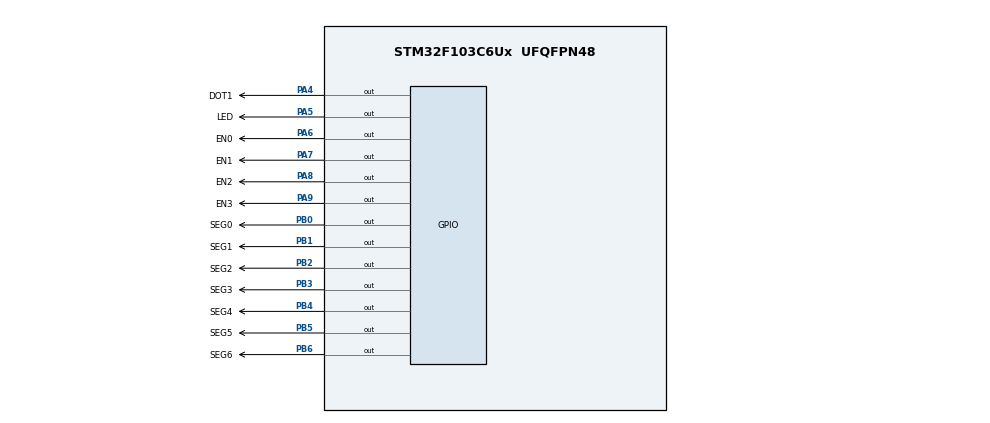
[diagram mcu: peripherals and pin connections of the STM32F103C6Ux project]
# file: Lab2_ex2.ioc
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Mcu.Family=STM32F1
Mcu.Name=STM32F103C6Ux
Mcu.Package=UFQFPN48
NVIC.PriorityGroup=NVIC_PRIORITYGROUP_4
NVIC.TIM2_IRQn=true\:0\:0\:false\:false\:true\:true\:true
PA4.GPIO_Label=DOT1
PA4.Signal=GPIO_Output
PA5.GPIO_Label=LED
PA5.Signal=GPIO_Output
PA6.GPIO_Label=EN0
PA6.Signal=GPIO_Output
PA7.GPIO_Label=EN1
PA7.Signal=GPIO_Output
PA8.GPIO_Label=EN2
PA8.Signal=GPIO_Output
PA9.GPIO_Label=EN3
PA9.Signal=GPIO_Output
PB0.GPIO_Label=SEG0
PB0.Signal=GPIO_Output
PB1.GPIO_Label=SEG1
PB1.Signal=GPIO_Output
PB2.GPIO_Label=SEG2
PB2.Signal=GPIO_Output
PB3.GPIO_Label=SEG3
PB3.Signal=GPIO_Output
PB4.GPIO_Label=SEG4
PB4.Signal=GPIO_Output
PB5.GPIO_Label=SEG5
PB5.Signal=GPIO_Output
PB6.GPIO_Label=SEG6
PB6.Signal=GPIO_Output
ProjectManager.HeapSize=0x200
ProjectManager.StackSize=0x400
ProjectManager.TargetToolchain=STM32CubeIDE
RCC.APB1Freq_Value=8000000
RCC.APB2Freq_Value=8000000
TIM2.Period=9
TIM2.Prescaler=7999
VP_SYS_VS_ND.Mode=No_Debug
VP_TIM2_VS_ClockSourceINT.Mode=Internal
board=custom

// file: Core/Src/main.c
/* USER CODE BEGIN Header */
/**
  ******************************************************************************
  * @file           : main.c
  * @brief          : Main program body
  ******************************************************************************
  * @attention
  *
  * <h2><center>&copy; Copyright (c) 2022 STMicroelectronics.
  * All rights reserved.</center></h2>
  *
  * This software component is licensed by ST under BSD 3-Clause license,
  * the "License"; You may not use this file except in compliance with the
  * License. You may obtain a copy of the License at:
  *                        opensource.org/licenses/BSD-3-Clause
  *
  ******************************************************************************
  */
/* USER CODE END Header */
#include "main.h"

TIM_HandleTypeDef htim2;

void SystemClock_Config(void);
static void MX_GPIO_Init(void);
static void MX_TIM2_Init(void);

/* USER CODE BEGIN 0 */
void display7SEG(int num){
		  // VARIABLES a,b,c,d,e,f,g ARE DEFINED BY THESE SPECIFIC DESCRIPTION ABOVE.
		  // DISLAY NUMBER 0
			if(num == 0){
				HAL_GPIO_WritePin ( SEG0_GPIO_Port , SEG0_Pin ,GPIO_PIN_RESET );
				HAL_GPIO_WritePin ( SEG1_GPIO_Port , SEG1_Pin ,GPIO_PIN_RESET );
				HAL_GPIO_WritePin ( SEG2_GPIO_Port , SEG2_Pin ,GPIO_PIN_RESET );
				HAL_GPIO_WritePin ( SEG3_GPIO_Port , SEG3_Pin ,GPIO_PIN_RESET );
				HAL_GPIO_WritePin ( SEG4_GPIO_Port , SEG4_Pin ,GPIO_PIN_RESET );
				HAL_GPIO_WritePin ( SEG5_GPIO_Port , SEG5_Pin ,GPIO_PIN_RESET );
				HAL_GPIO_WritePin ( SEG6_GPIO_Port , SEG6_Pin ,GPIO_PIN_SET );
			}
			// DISLAY NUMBER 1
			else if(num == 1){
				HAL_GPIO_WritePin ( SEG0_GPIO_Port , SEG0_Pin ,GPIO_PIN_SET );
				HAL_GPIO_WritePin ( SEG1_GPIO_Port , SEG1_Pin ,GPIO_PIN_RESET );
				HAL_GPIO_WritePin ( SEG2_GPIO_Port , SEG2_Pin ,GPIO_PIN_RESET );
				HAL_GPIO_WritePin ( SEG3_GPIO_Port , SEG3_Pin ,GPIO_PIN_SET );
				HAL_GPIO_WritePin ( SEG4_GPIO_Port , SEG4_Pin ,GPIO_PIN_SET );
				HAL_GPIO_WritePin ( SEG5_GPIO_Port , SEG5_Pin ,GPIO_PIN_SET );
				HAL_GPIO_WritePin ( SEG6_GPIO_Port , SEG6_Pin ,GPIO_PIN_SET );
			}
			// DISLAY NUMBER 2
			else if(num == 2){
					HAL_GPIO_WritePin ( SEG0_GPIO_Port , SEG0_Pin ,GPIO_PIN_RESET );
					HAL_GPIO_WritePin ( SEG1_GPIO_Port , SEG1_Pin ,GPIO_PIN_RESET );
					HAL_GPIO_WritePin ( SEG2_GPIO_Port , SEG2_Pin ,GPIO_PIN_SET );
					HAL_GPIO_WritePin ( SEG3_GPIO_Port , SEG3_Pin ,GPIO_PIN_RESET );
					HAL_GPIO_WritePin ( SEG4_GPIO_Port , SEG4_Pin ,GPIO_PIN_RESET );
					HAL_GPIO_WritePin ( SEG5_GPIO_Port , SEG5_Pin ,GPIO_PIN_SET );
					HAL_GPIO_WritePin ( SEG6_GPIO_Port , SEG6_Pin ,GPIO_PIN_RESET );
				}
		    // DISLAY NUMBER 3
			else if(num == 3){
				HAL_GPIO_WritePin ( SEG0_GPIO_Port , SEG0_Pin ,GPIO_PIN_RESET );
				HAL_GPIO_WritePin ( SEG1_GPIO_Port , SEG1_Pin ,GPIO_PIN_RESET );
				HAL_GPIO_WritePin ( SEG2_GPIO_Port , SEG2_Pin ,GPIO_PIN_RESET );
				HAL_GPIO_WritePin ( SEG3_GPIO_Port , SEG3_Pin ,GPIO_PIN_RESET );
				HAL_GPIO_WritePin ( SEG4_GPIO_Port , SEG4_Pin ,GPIO_PIN_SET );
				HAL_GPIO_WritePin ( SEG5_GPIO_Port , SEG5_Pin ,GPIO_PIN_SET );
				HAL_GPIO_WritePin ( SEG6_GPIO_Port , SEG6_Pin ,GPIO_PIN_RESET );
			}
			// DISLAY NUMBER 4
			else if(num == 4){
				HAL_GPIO_WritePin ( SEG0_GPIO_Port , SEG0_Pin ,GPIO_PIN_SET );
				HAL_GPIO_WritePin ( SEG1_GPIO_Port , SEG1_Pin ,GPIO_PIN_RESET );
				HAL_GPIO_WritePin ( SEG2_GPIO_Port , SEG2_Pin ,GPIO_PIN_RESET );
				HAL_GPIO_WritePin ( SEG3_GPIO_Port , SEG3_Pin ,GPIO_PIN_SET );
				HAL_GPIO_WritePin ( SEG4_GPIO_Port , SEG4_Pin ,GPIO_PIN_SET );
				HAL_GPIO_WritePin ( SEG5_GPIO_Port , SEG5_Pin ,GPIO_PIN_RESET );
				HAL_GPIO_WritePin ( SEG6_GPIO_Port , SEG6_Pin ,GPIO_PIN_RESET );
			}
			// DISLAY NUMBER 5
			else if(num == 5){
				HAL_GPIO_WritePin ( SEG0_GPIO_Port , SEG0_Pin ,GPIO_PIN_RESET );
				HAL_GPIO_WritePin ( SEG1_GPIO_Port , SEG1_Pin ,GPIO_PIN_SET );
				HAL_GPIO_WritePin ( SEG2_GPIO_Port , SEG2_Pin ,GPIO_PIN_RESET );
				HAL_GPIO_WritePin ( SEG3_GPIO_Port , SEG3_Pin ,GPIO_PIN_RESET );
				HAL_GPIO_WritePin ( SEG4_GPIO_Port , SEG4_Pin ,GPIO_PIN_SET );
				HAL_GPIO_WritePin ( SEG5_GPIO_Port , SEG5_Pin ,GPIO_PIN_RESET );
				HAL_GPIO_WritePin ( SEG6_GPIO_Port , SEG6_Pin ,GPIO_PIN_RESET );
			}
			// DISLAY NUMBER 6
			else if(num == 6){
				HAL_GPIO_WritePin ( SEG0_GPIO_Port , SEG0_Pin ,GPIO_PIN_RESET );
				HAL_GPIO_WritePin ( SEG1_GPIO_Port , SEG1_Pin ,GPIO_PIN_SET );
				HAL_GPIO_WritePin ( SEG2_GPIO_Port , SEG2_Pin ,GPIO_PIN_RESET );
				HAL_GPIO_WritePin ( SEG3_GPIO_Port , SEG3_Pin ,GPIO_PIN_RESET );
				HAL_GPIO_WritePin ( SEG4_GPIO_Port , SEG4_Pin ,GPIO_PIN_RESET );
				HAL_GPIO_WritePin ( SEG5_GPIO_Port , SEG5_Pin ,GPIO_PIN_RESET );
				HAL_GPIO_WritePin ( SEG6_GPIO_Port , SEG6_Pin ,GPIO_PIN_RESET );
			}
			// DISLAY NUMBER 7
			else if(num == 7){
				HAL_GPIO_WritePin ( SEG0_GPIO_Port , SEG0_Pin ,GPIO_PIN_RESET );
				HAL_GPIO_WritePin ( SEG1_GPIO_Port , SEG1_Pin ,GPIO_PIN_RESET );
				HAL_GPIO_WritePin ( SEG2_GPIO_Port , SEG2_Pin ,GPIO_PIN_RESET );
				HAL_GPIO_WritePin ( SEG3_GPIO_Port , SEG3_Pin ,GPIO_PIN_SET );
				HAL_GPIO_WritePin ( SEG4_GPIO_Port , SEG4_Pin ,GPIO_PIN_SET );
				HAL_GPIO_WritePin ( SEG5_GPIO_Port , SEG5_Pin ,GPIO_PIN_SET );
				HAL_GPIO_WritePin ( SEG6_GPIO_Port , SEG6_Pin ,GPIO_PIN_SET );
			}
			// DISLAY NUMBER 8
			else if(num == 8){
				HAL_GPIO_WritePin ( SEG0_GPIO_Port , SEG0_Pin ,GPIO_PIN_RESET );
				HAL_GPIO_WritePin ( SEG1_GPIO_Port , SEG1_Pin ,GPIO_PIN_RESET );
				HAL_GPIO_WritePin ( SEG2_GPIO_Port , SEG2_Pin ,GPIO_PIN_RESET );
				HAL_GPIO_WritePin ( SEG3_GPIO_Port , SEG3_Pin ,GPIO_PIN_RESET );
				HAL_GPIO_WritePin ( SEG4_GPIO_Port , SEG4_Pin ,GPIO_PIN_RESET );
				HAL_GPIO_WritePin ( SEG5_GPIO_Port , SEG5_Pin ,GPIO_PIN_RESET );
				HAL_GPIO_WritePin ( SEG6_GPIO_Port , SEG6_Pin ,GPIO_PIN_RESET );
			}
			// DISLAY NUMBER 9
			else if(num == 9){
				HAL_GPIO_WritePin ( SEG0_GPIO_Port , SEG0_Pin ,GPIO_PIN_RESET );
				HAL_GPIO_WritePin ( SEG1_GPIO_Port , SEG1_Pin ,GPIO_PIN_RESET );
				HAL_GPIO_WritePin ( SEG2_GPIO_Port , SEG2_Pin ,GPIO_PIN_RESET );
				HAL_GPIO_WritePin ( SEG3_GPIO_Port , SEG3_Pin ,GPIO_PIN_RESET );
				HAL_GPIO_WritePin ( SEG4_GPIO_Port , SEG4_Pin ,GPIO_PIN_SET );
				HAL_GPIO_WritePin ( SEG5_GPIO_Port , SEG5_Pin ,GPIO_PIN_RESET );
				HAL_GPIO_WritePin ( SEG6_GPIO_Port , SEG6_Pin ,GPIO_PIN_RESET );
			}
		}
	const int MAX_LED = 4;
	int index_led = 0;
	int led_buffer [4] = {1, 2, 3, 4};
	void update7SEG ( int index ){
		HAL_GPIO_WritePin(GPIOA, EN0_Pin, SET);
		HAL_GPIO_WritePin(GPIOA, EN1_Pin, SET);
		HAL_GPIO_WritePin(GPIOA, EN2_Pin, SET);
		HAL_GPIO_WritePin(GPIOA, EN3_Pin, SET);
		display7SEG(led_buffer[index]);
			switch ( index ){
				case 0:
					HAL_GPIO_WritePin(GPIOA, EN0_Pin, RESET);

					// Display the first 7 SEG with led_buffer [0]
					break ;
				case 1:
					HAL_GPIO_WritePin(GPIOA, EN1_Pin, RESET);

					// Display the second 7 SEG with led_buffer [1]
					break ;
				case 2:

					HAL_GPIO_WritePin(GPIOA, EN2_Pin, RESET);

					// Display the third 7 SEG with led_buffer [2]
					break ;
				case 3:
					HAL_GPIO_WritePin(GPIOA, EN3_Pin, RESET);

					// Display the forth 7 SEG with led_buffer [3]
					break ;
				default :
					break ;
			}
 }
/* USER CODE END 0 */

int main(void)
{

  /* MCU Configuration--------------------------------------------------------*/

  /* Reset of all peripherals, Initializes the Flash interface and the Systick. */
  HAL_Init();

  /* Configure the system clock */
  SystemClock_Config();

  /* Initialize all configured peripherals */
  MX_GPIO_Init();
  MX_TIM2_Init();
  /* USER CODE BEGIN 2 */
  HAL_TIM_Base_Start_IT(&htim2);

  /* USER CODE END 2 */

  /* Infinite loop */
  while (1)
  {

  }
}

void SystemClock_Config(void)
{
  RCC_OscInitTypeDef RCC_OscInitStruct = {0};
  RCC_ClkInitTypeDef RCC_ClkInitStruct = {0};

  /** Initializes the RCC Oscillators according to the specified parameters
  * in the RCC_OscInitTypeDef structure.
  */
  RCC_OscInitStruct.OscillatorType = RCC_OSCILLATORTYPE_HSI;
  RCC_OscInitStruct.HSIState = RCC_HSI_ON;
  RCC_OscInitStruct.HSICalibrationValue = RCC_HSICALIBRATION_DEFAULT;
  RCC_OscInitStruct.PLL.PLLState = RCC_PLL_NONE;
  if (HAL_RCC_OscConfig(&RCC_OscInitStruct) != HAL_OK)
  {
    Error_Handler();
  }
  /** Initializes the CPU, AHB and APB buses clocks
  */
  RCC_ClkInitStruct.ClockType = RCC_CLOCKTYPE_HCLK|RCC_CLOCKTYPE_SYSCLK
                              |RCC_CLOCKTYPE_PCLK1|RCC_CLOCKTYPE_PCLK2;
  RCC_ClkInitStruct.SYSCLKSource = RCC_SYSCLKSOURCE_HSI;
  RCC_ClkInitStruct.AHBCLKDivider = RCC_SYSCLK_DIV1;
  RCC_ClkInitStruct.APB1CLKDivider = RCC_HCLK_DIV1;
  RCC_ClkInitStruct.APB2CLKDivider = RCC_HCLK_DIV1;

  if (HAL_RCC_ClockConfig(&RCC_ClkInitStruct, FLASH_LATENCY_0) != HAL_OK)
  {
    Error_Handler();
  }
}

static void MX_TIM2_Init(void)
{

  TIM_ClockConfigTypeDef sClockSourceConfig = {0};
  TIM_MasterConfigTypeDef sMasterConfig = {0};

  htim2.Instance = TIM2;
  htim2.Init.Prescaler = 7999;
  htim2.Init.CounterMode = TIM_COUNTERMODE_UP;
  htim2.Init.Period = 9;
  htim2.Init.ClockDivision = TIM_CLOCKDIVISION_DIV1;
  htim2.Init.AutoReloadPreload = TIM_AUTORELOAD_PRELOAD_DISABLE;
  if (HAL_TIM_Base_Init(&htim2) != HAL_OK)
  {
    Error_Handler();
  }
  sClockSourceConfig.ClockSource = TIM_CLOCKSOURCE_INTERNAL;
  if (HAL_TIM_ConfigClockSource(&htim2, &sClockSourceConfig) != HAL_OK)
  {
    Error_Handler();
  }
  sMasterConfig.MasterOutputTrigger = TIM_TRGO_RESET;
  sMasterConfig.MasterSlaveMode = TIM_MASTERSLAVEMODE_DISABLE;
  if (HAL_TIMEx_MasterConfigSynchronization(&htim2, &sMasterConfig) != HAL_OK)
  {
    Error_Handler();
  }

}

static void MX_GPIO_Init(void)
{
  GPIO_InitTypeDef GPIO_InitStruct = {0};

  /* GPIO Ports Clock Enable */
  __HAL_RCC_GPIOA_CLK_ENABLE();
  __HAL_RCC_GPIOB_CLK_ENABLE();

  /*Configure GPIO pin Output Level */
  HAL_GPIO_WritePin(GPIOA, DOT1_Pin|LED_Pin|EN0_Pin|EN1_Pin
                          |EN2_Pin|EN3_Pin, GPIO_PIN_RESET);

  /*Configure GPIO pin Output Level */
  HAL_GPIO_WritePin(GPIOB, SEG0_Pin|SEG1_Pin|SEG2_Pin|SEG3_Pin
                          |SEG4_Pin|SEG5_Pin|SEG6_Pin, GPIO_PIN_RESET);

  /*Configure GPIO pins : DOT1_Pin LED_Pin EN0_Pin EN1_Pin
                           EN2_Pin EN3_Pin */
  GPIO_InitStruct.Pin = DOT1_Pin|LED_Pin|EN0_Pin|EN1_Pin
                          |EN2_Pin|EN3_Pin;
  GPIO_InitStruct.Mode = GPIO_MODE_OUTPUT_PP;
  GPIO_InitStruct.Pull = GPIO_NOPULL;
  GPIO_InitStruct.Speed = GPIO_SPEED_FREQ_LOW;
  HAL_GPIO_Init(GPIOA, &GPIO_InitStruct);

  /*Configure GPIO pins : SEG0_Pin SEG1_Pin SEG2_Pin SEG3_Pin
                           SEG4_Pin SEG5_Pin SEG6_Pin */
  GPIO_InitStruct.Pin = SEG0_Pin|SEG1_Pin|SEG2_Pin|SEG3_Pin
                          |SEG4_Pin|SEG5_Pin|SEG6_Pin;
  GPIO_InitStruct.Mode = GPIO_MODE_OUTPUT_PP;
  GPIO_InitStruct.Pull = GPIO_NOPULL;
  GPIO_InitStruct.Speed = GPIO_SPEED_FREQ_LOW;
  HAL_GPIO_Init(GPIOB, &GPIO_InitStruct);

}

/* USER CODE BEGIN 4 */
int blink_LED = 50;//Half second
int blink_DOT = 100;// a second
int idx_7seg  = 0;
void HAL_TIM_PeriodElapsedCallback(TIM_HandleTypeDef *htim){
	blink_LED--;
	blink_DOT--;
	if (blink_DOT <= 0){
		blink_DOT = 100;
			HAL_GPIO_TogglePin(GPIOA, DOT1_Pin);
		}
	if(blink_LED <= 0){
		blink_LED = 50;
		HAL_GPIO_TogglePin(LED_GPIO_Port, LED_Pin);
		HAL_GPIO_WritePin ( GPIOA , EN0_Pin  , SET);
		HAL_GPIO_WritePin ( GPIOA , EN1_Pin  , SET);
		HAL_GPIO_WritePin ( GPIOA , EN2_Pin  , SET);
		HAL_GPIO_WritePin ( GPIOA , EN3_Pin  , SET);
		switch (idx_7seg){
		case 0:
			HAL_GPIO_WritePin(GPIOA, EN0_Pin, RESET);
			display7SEG(1);
			idx_7seg = 1;
			break;
		case 1:
			HAL_GPIO_WritePin(GPIOA, EN1_Pin, RESET);
			display7SEG(2);
			idx_7seg = 2;
			break;
		case 2:
			HAL_GPIO_WritePin(EN2_GPIO_Port, EN2_Pin, RESET);
			display7SEG(3);
			idx_7seg =3;
			break;
		case 3:
			HAL_GPIO_WritePin(EN3_GPIO_Port, EN3_Pin, RESET);
			display7SEG(0);
			idx_7seg = 0;
			break;
		default:
			break;
	}
}
}

/* USER CODE END 4 */

void Error_Handler(void)
{
  __disable_irq();
  while (1)
  {
  }
}

/************************ (C) COPYRIGHT STMicroelectronics *****END OF FILE****/
